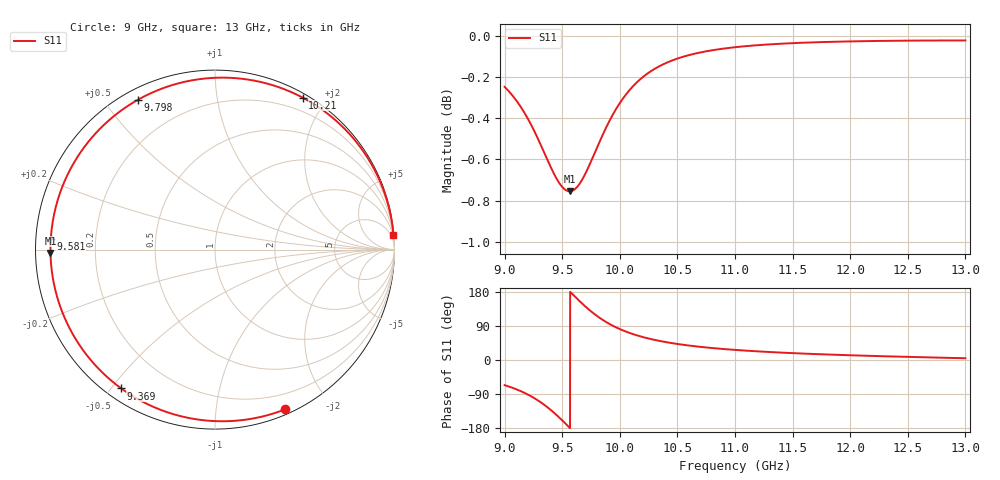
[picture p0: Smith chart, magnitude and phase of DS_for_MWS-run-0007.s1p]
! TOUCHSTONE file generated by CST DESIGN STUDIO
! Date and time: Wed Feb  5 13:46:39 2025
! Project name: C:\Work\MatlabApps\UnitCellOptimizationMatlab\CST\unitcell.cst
! Tree item: Tasks\Sweep1\SPara1\S-Parameters
! Header version: 2024
! Port assignment regex: !\s*Touchstone port\s*([0-9]+)\s*=\s*(CST MWS port|CST DES external port|CST DES block port)\s*(.+)\s* \(\"(.*)\"\)(\s*mode\s*([0-9]+))?.*
! Touchstone port assignment:
! Touchstone port 1 = CST DES external port 1 ("")
# GHz S MA R 50
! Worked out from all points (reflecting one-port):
!   4001 points, 9 GHz to 13 GHz, reference 50 ohm
!   lowest |S11| = -0.8 dB at 9.565 GHz (marker M1), VSWR 23.03, Z = 2.17 - j0.498 ohm
!   phase of S11 starts at -66 deg and turns -289 deg over the sweep
!   S11 on the Smith chart (normalised r, x): 9 GHz: 0.05, -1.53; 9.369 GHz: 0.04, -0.53; 9.581 GHz: 0.04, +0.03; 9.798 GHz: 0.04, +0.61; 10.21 GHz: 0.05, +1.73; 13 GHz: 1, +25
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9  0.9719 -66.4
9.042  0.9692 -70.6
9.108  0.964 -78.1
9.221  0.9526 -94.3
9.299  0.9429 -108.6
9.369  0.9334 -124.0
9.433  0.9253 -140.3
9.5  0.919 -159.3
9.533  0.9173 -169.1
9.565  0.9168 -178.9
9.581  0.9169 176.3
9.636  0.9194 159.7
9.697  0.9254 142.3
9.747  0.9318 129.2
9.798  0.9389 117.1
9.842  0.9449 107.7
9.889  0.951 98.8
10  0.9632 81.6
10.099  0.9712 69.9
10.207  0.9776 60.0
10.342  0.9832 50.5
10.5  0.9875 42.3
10.721  0.9911 34.0
11  0.9937 26.6
11.5  0.996 18.1
12  0.997 12.5
12.5  0.9974 8.2
13  0.9975 4.6
